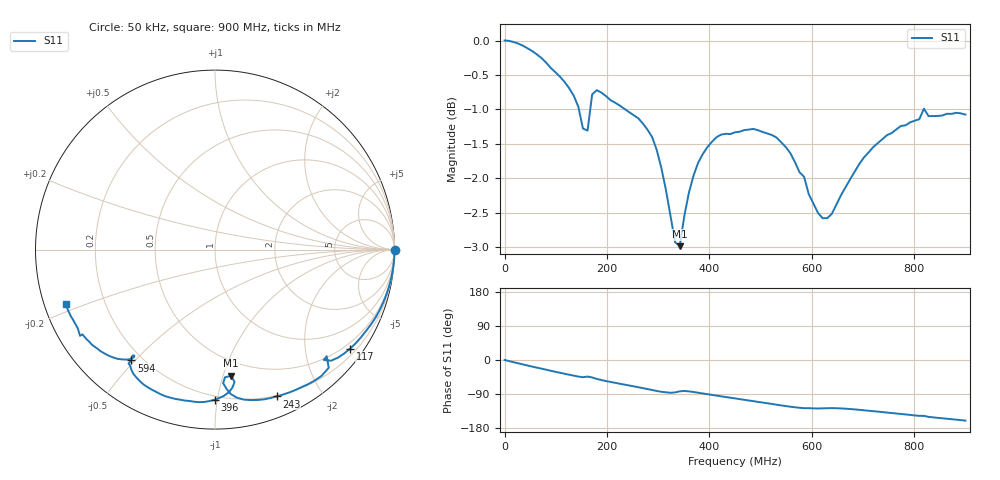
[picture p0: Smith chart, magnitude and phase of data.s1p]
!File created by NanoVNA
# Hz S RI R 50
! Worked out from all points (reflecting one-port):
!   101 points, 50 kHz to 900 MHz, reference 50 ohm
!   lowest |S11| = -3.0 dB at 342 MHz (marker M1), VSWR 5.87, Z = 18.8 - j53.2 ohm
!   phase of S11 starts at 0 deg and turns -160 deg over the sweep
!   S11 on the Smith chart (normalised r, x): 50 kHz: open; 117 MHz: 0.35, -3.02; 243 MHz: 0.19, -1.49; 396 MHz: 0.18, -0.98; 594 MHz: 0.16, -0.49; 900 MHz: 0.06, -0.18
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50000  1 0.00013
5.4047e7  0.9375 -0.2945
1.170435e8  0.7527 -0.5519
1.44042e8  0.6468 -0.6191
1.530415e8  0.6061 -0.6146
1.62041e8  0.6222 -0.5939
1.710405e8  0.6337 -0.6586
1.8004e8  0.5934 -0.7037
2.250375e8  0.4128 -0.7964
2.430365e8  0.344 -0.8178
2.790345e8  0.1993 -0.8383
3.06033e8  0.0868 -0.8038
3.24032e8  0.0455 -0.7444
3.42031e8  0.0902 -0.7031
3.6003e8  0.0966 -0.7694
3.96028e8  -0.00266 -0.8367
4.50025e8  -0.1683 -0.8411
5.130215e8  -0.35 -0.7813
5.670185e8  -0.4659 -0.6701
5.94017e8  -0.466 -0.6174
6.12016e8  -0.4604 -0.5915
6.390145e8  -0.4501 -0.5977
6.750125e8  -0.5036 -0.6126
7.2001e8  -0.592 -0.5914
7.92006e8  -0.7137 -0.5013
8.190045e8  -0.7521 -0.4804
8.28004e8  -0.764 -0.4394
9e8  -0.83 -0.3032
